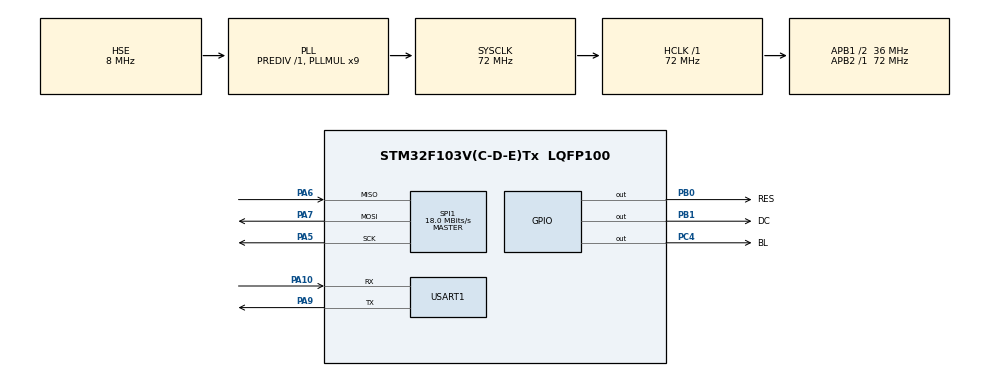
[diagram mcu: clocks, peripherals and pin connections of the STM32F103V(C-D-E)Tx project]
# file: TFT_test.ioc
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Dma.Request0=SPI1_TX
Dma.SPI1_TX.0.Direction=DMA_MEMORY_TO_PERIPH
Dma.SPI1_TX.0.Instance=DMA1_Channel3
Dma.SPI1_TX.0.MemDataAlignment=DMA_MDATAALIGN_BYTE
Dma.SPI1_TX.0.MemInc=DMA_MINC_ENABLE
Dma.SPI1_TX.0.Mode=DMA_NORMAL
Dma.SPI1_TX.0.PeriphDataAlignment=DMA_PDATAALIGN_BYTE
Dma.SPI1_TX.0.PeriphInc=DMA_PINC_DISABLE
Dma.SPI1_TX.0.Priority=DMA_PRIORITY_HIGH
Mcu.Family=STM32F1
Mcu.Name=STM32F103V(C-D-E)Tx
Mcu.Package=LQFP100
NVIC.DMA1_Channel3_IRQn=true\:0\:0\:false\:false\:true\:false\:true\:true
NVIC.PriorityGroup=NVIC_PRIORITYGROUP_0
NVIC.TIM2_IRQn=true\:0\:5\:false\:false\:true\:true\:true\:true
NVIC.USART1_IRQn=true\:0\:0\:false\:false\:true\:true\:true\:true
OSC_IN.Mode=HSE-External-Oscillator
OSC_IN.Signal=RCC_OSC_IN
OSC_OUT.Mode=HSE-External-Oscillator
OSC_OUT.Signal=RCC_OSC_OUT
PA10.Mode=Asynchronous
PA10.Signal=USART1_RX
PA13.Mode=JTAG_5_pins
PA13.Signal=SYS_JTMS-SWDIO
PA14.Mode=JTAG_5_pins
PA14.Signal=SYS_JTCK-SWCLK
PA15.Mode=JTAG_5_pins
PA15.Signal=SYS_JTDI
PA5.Mode=Full_Duplex_Master
PA5.Signal=SPI1_SCK
PA6.Mode=Full_Duplex_Master
PA6.Signal=SPI1_MISO
PA7.Mode=Full_Duplex_Master
PA7.Signal=SPI1_MOSI
PA9.Mode=Asynchronous
PA9.Signal=USART1_TX
PB0.GPIO_Label=RES
PB0.GPIO_Speed=GPIO_SPEED_FREQ_HIGH
PB0.PinState=GPIO_PIN_SET
PB0.Signal=GPIO_Output
PB1.GPIO_Label=DC
PB1.GPIO_Speed=GPIO_SPEED_FREQ_HIGH
PB1.PinState=GPIO_PIN_SET
PB1.Signal=GPIO_Output
PB3.Mode=JTAG_5_pins
PB3.Signal=SYS_JTDO-TRACESWO
PB4.Mode=JTAG_5_pins
PB4.Signal=SYS_NJTRST
PC4.GPIO_Label=BL
PC4.PinState=GPIO_PIN_SET
PC4.Signal=GPIO_Output
ProjectManager.HeapSize=0x200
ProjectManager.StackSize=0x400
ProjectManager.TargetToolchain=MDK-ARM V5.27
RCC.AHBFreq_Value=72000000
RCC.APB1CLKDivider=RCC_HCLK_DIV2
RCC.APB1Freq_Value=36000000
RCC.APB1TimFreq_Value=72000000
RCC.APB2Freq_Value=72000000
RCC.APB2TimFreq_Value=72000000
RCC.HCLKFreq_Value=72000000
RCC.PLLMUL=RCC_PLL_MUL9
RCC.PLLSourceVirtual=RCC_PLLSOURCE_HSE
RCC.SYSCLKFreq_VALUE=72000000
RCC.SYSCLKSource=RCC_SYSCLKSOURCE_PLLCLK
RCC.USBFreq_Value=72000000
SPI1.BaudRatePrescaler=SPI_BAUDRATEPRESCALER_4
SPI1.CLKPolarity=SPI_POLARITY_HIGH
SPI1.CalculateBaudRate=18.0 MBits/s
SPI1.Direction=SPI_DIRECTION_2LINES
SPI1.Mode=SPI_MODE_MASTER
SPI1.VirtualType=VM_MASTER
TIM2.AutoReloadPreload=TIM_AUTORELOAD_PRELOAD_ENABLE
TIM2.Period=999
TIM2.Prescaler=71
USART1.VirtualMode=VM_ASYNC
VP_TIM2_VS_ClockSourceINT.Mode=Internal
board=custom

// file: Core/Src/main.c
/* USER CODE BEGIN Header */
/**
 ******************************************************************************
 * @file           : main.c
 * @brief          : Main program body
 ******************************************************************************
 * @attention
 *
 * Copyright (c) 2023 STMicroelectronics.
 * All rights reserved.
 *
 * This software is licensed under terms that can be found in the LICENSE file
 * in the root directory of this software component.
 * If no LICENSE file comes with this software, it is provided AS-IS.
 *
 ******************************************************************************
 */
/* USER CODE END Header */
#include "main.h"
#include "dma.h"
#include "spi.h"
#include "tim.h"
#include "usart.h"
#include "gpio.h"

/* USER CODE BEGIN Includes */
#include "img.h"
#include "st7789.h"
/* USER CODE END Includes */

void SystemClock_Config(void);

int main(void)
{

  /* MCU Configuration--------------------------------------------------------*/

  /* Reset of all peripherals, Initializes the Flash interface and the Systick. */
  HAL_Init();

  /* Configure the system clock */
  SystemClock_Config();

  /* Initialize all configured peripherals */
  MX_GPIO_Init();
  MX_DMA_Init();
  MX_USART1_UART_Init();
  MX_SPI1_Init();
  MX_TIM2_Init();
  /* USER CODE BEGIN 2 */

  ST7789_Init();
  //   uint16_t fre = 0;
  //   ST7789_Init();
  /* USER CODE END 2 */

  /* Infinite loop */
  /* USER CODE BEGIN WHILE */

  //   printf("ready\n");
//  ST7789_DrawImage(0, 0, 128, 128, (uint16_t *)saber);
  while (1) {
    ST7789_Test();
  }

#ifdef DEBUG
  extern uint8_t flag;
  uint16_t fre = 0;
  printf("start\n");
  HAL_TIM_Base_Start_IT(&htim2);
  while (1) {
    //     ST7789_Fill_Color(WHITE);
    //     fre++;
    ST7789_Fill_Color(WHITE);
    fre++;
    if (!flag) {
      printf("end at: %d\n", fre);
      fre = 0;
      flag = !flag;
    }
    // HAL_Delay(1000);
    /* USER CODE END WHILE */

    /* USER CODE BEGIN 3 */
  }
#endif
  /* USER CODE END 3 */
}

void SystemClock_Config(void)
{
  RCC_OscInitTypeDef RCC_OscInitStruct = {0};
  RCC_ClkInitTypeDef RCC_ClkInitStruct = {0};

  /** Initializes the RCC Oscillators according to the specified parameters
  * in the RCC_OscInitTypeDef structure.
  */
  RCC_OscInitStruct.OscillatorType = RCC_OSCILLATORTYPE_HSE;
  RCC_OscInitStruct.HSEState = RCC_HSE_ON;
  RCC_OscInitStruct.HSEPredivValue = RCC_HSE_PREDIV_DIV1;
  RCC_OscInitStruct.HSIState = RCC_HSI_ON;
  RCC_OscInitStruct.PLL.PLLState = RCC_PLL_ON;
  RCC_OscInitStruct.PLL.PLLSource = RCC_PLLSOURCE_HSE;
  RCC_OscInitStruct.PLL.PLLMUL = RCC_PLL_MUL9;
  if (HAL_RCC_OscConfig(&RCC_OscInitStruct) != HAL_OK)
  {
    Error_Handler();
  }

  /** Initializes the CPU, AHB and APB buses clocks
  */
  RCC_ClkInitStruct.ClockType = RCC_CLOCKTYPE_HCLK|RCC_CLOCKTYPE_SYSCLK
                              |RCC_CLOCKTYPE_PCLK1|RCC_CLOCKTYPE_PCLK2;
  RCC_ClkInitStruct.SYSCLKSource = RCC_SYSCLKSOURCE_PLLCLK;
  RCC_ClkInitStruct.AHBCLKDivider = RCC_SYSCLK_DIV1;
  RCC_ClkInitStruct.APB1CLKDivider = RCC_HCLK_DIV2;
  RCC_ClkInitStruct.APB2CLKDivider = RCC_HCLK_DIV1;

  if (HAL_RCC_ClockConfig(&RCC_ClkInitStruct, FLASH_LATENCY_2) != HAL_OK)
  {
    Error_Handler();
  }
}

void Error_Handler(void)
{
  __disable_irq();
  while (1) {
  }
}

#ifdef  USE_FULL_ASSERT
/**
  * @brief  Reports the name of the source file and the source line number
  *         where the assert_param error has occurred.
  * @param  file: pointer to the source file name
  * @param  line: assert_param error line source number
  * @retval None
  */
void assert_failed(uint8_t *file, uint32_t line)
{
  /* USER CODE BEGIN 6 */
  /* User can add his own implementation to report the file name and line
     number, ex: printf("Wrong parameters value: file %s on line %d\r\n", file,
     line) */
  /* USER CODE END 6 */
}
#endif /* USE_FULL_ASSERT */
